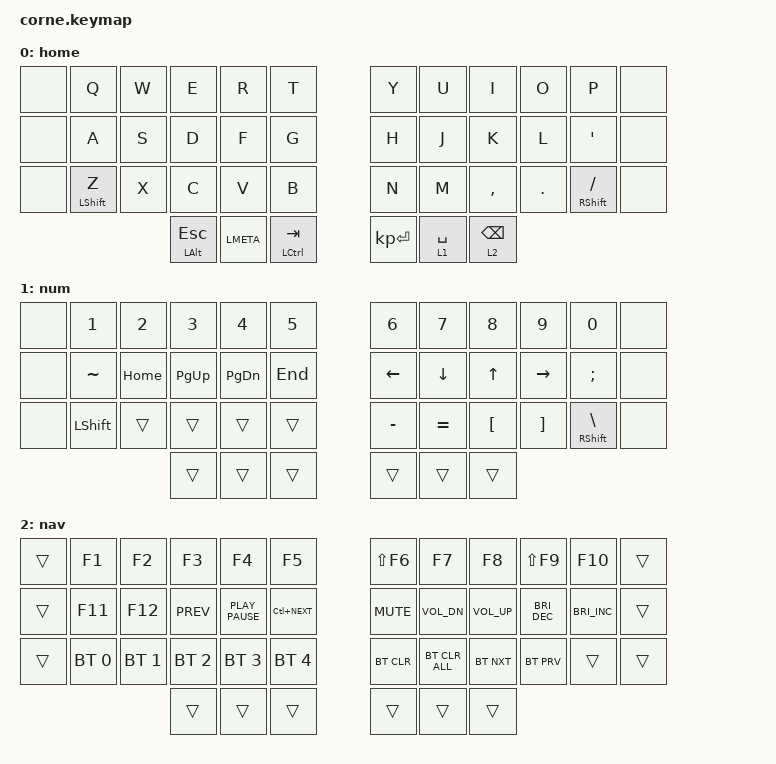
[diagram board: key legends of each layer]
/*
 * Copyright (c) 2020 The ZMK Contributors
 *
 * SPDX-License-Identifier: MIT
 */

#include <behaviors.dtsi>
#include <dt-bindings/zmk/bt.h>
#include <dt-bindings/zmk/keys.h>

/ {
    behaviors {
        hm: homerow_mods {
            compatible = "zmk,behavior-hold-tap";
            label = "HOMEROW_MODS";
            bindings = <&kp>, <&kp>;

            #binding-cells = <2>;
            tapping-term-ms = <200>;
            flavor = "tap-preferred";
            require-prior-idle-ms = <125>;
            quick-tap-ms = <200>;
        };

        shifthr: shifthr {
            compatible = "zmk,behavior-hold-tap";
            label = "SHIFTHR";
            bindings = <&kp>, <&kp>;

            #binding-cells = <2>;
            tapping-term-ms = <185>;
            flavor = "tap-preferred";
            quick-tap-ms = <185>;
        };

        weak: weak {
            compatible = "zmk,behavior-hold-tap";
            label = "WEAK";
            bindings = <&kp>, <&kp>;

            #binding-cells = <2>;
            tapping-term-ms = <230>;
            flavor = "tap-preferred";
            require-prior-idle-ms = <125>;
            quick-tap-ms = <230>;
        };

        backspace: backspace {
            compatible = "zmk,behavior-tap-dance";
            label = "BACKSPACE";
            #binding-cells = <0>;
            bindings = <&kp BACKSPACE>, <&kp LC(BACKSPACE)>;
        };
    };

    combos {
        compatible = "zmk,combos";

        escape {
            bindings = <&kp ESCAPE>;
            key-positions = <16 19>;
        };

        under {
            bindings = <&kp UNDER>;
            key-positions = <28 31>;
        };

        dash {
            bindings = <&kp MINUS>;
            key-positions = <4 7>;
        };

        capsword {
            bindings = <&caps_word>;
            key-positions = <13 22>;
        };
    };

    macros {
        save: save {
            compatible = "zmk,behavior-macro";
            #binding-cells = <0>;
            bindings = <&macro_tap>, <&kp ESCAPE &kp COLON &kp W &kp ENTER>;

            label = "SAVE";
        };

        email: email {
            compatible = "zmk,behavior-macro";
            #binding-cells = <0>;
            bindings = <&none &kp J &kp O &kp S &kp H &kp AT &kp J &kp O &kp S &kp H &kp B &kp L &kp A &kp I &kp S &kp DOT &kp C &kp O &kp M>;
            label = "EMAIL";
        };
    };

    keymap {
        compatible = "zmk,keymap";

        home {
            // -----------------------------------------------------------------------------------------
            // |  TAB |  Q  |  W  |  E  |  R  |  T  |   |  Y  |  U   |  I  |  O  |  P  | BKSP |
            // | CTRL |  A  |  S  |  D  |  F  |  G  |   |  H  |  J   |  K  |  L  |  ;  |  '   |
            // | SHFT |  Z  |  X  |  C  |  V  |  B  |   |  N  |  M   |  ,  |  .  |  /  | ESC  |
            //                    | GUI | LWR | SPC |   | ENT | RSE  | ALT |

            bindings = <
&none  &kp Q         &kp W  &kp E             &kp R      &kp T            &kp Y         &kp U        &kp I            &kp O    &kp P             &none
&none  &kp A         &kp S  &kp D             &kp F      &kp G            &kp H         &kp J        &kp K            &kp L    &kp SQT           &none
&none  &hm LSHIFT Z  &kp X  &kp C             &kp V      &kp B            &kp N         &kp M        &kp COMMA        &kp DOT  &hm RSHIFT SLASH  &none
                            &hm LEFT_ALT ESC  &kp LMETA  &hm LCTRL TAB    &kp KP_ENTER  &lt 1 SPACE  &lt 2 BACKSPACE
            >;

            label = "home";
        };

        num {
            // -----------------------------------------------------------------------------------------
            // |  TAB |  !  |  @  |  #  |  $  |  %  |   |  ^  |  &  |  *  |  (  |  )  | BKSP |
            // | CTRL |     |     |     |     |     |   |  -  |  =  |  [  |  ]  |  \  |  `   |
            // | SHFT |     |     |     |     |     |   |  _  |  +  |  {  |  }  | "|" |  ~   |
            //                    | GUI |     | SPC |   | ENT |     | ALT |

            bindings = <
&none  &kp NUMBER_1    &kp NUMBER_2  &kp NUMBER_3  &kp NUMBER_4  &kp N5     &kp NUMBER_6  &kp NUMBER_7  &kp N8            &kp N9             &kp N0                &none
&none  &kp TILDE       &kp HOME      &kp PAGE_UP   &kp PG_DN     &kp END    &kp LEFT      &kp DOWN      &kp UP_ARROW      &kp RIGHT          &kp SEMICOLON         &none
&none  &kp LEFT_SHIFT  &trans        &trans        &trans        &trans     &kp MINUS     &kp EQUAL     &kp LEFT_BRACKET  &kp RIGHT_BRACKET  &hm RSHIFT BACKSLASH  &none
                                     &trans        &trans        &trans     &trans        &trans        &trans
            >;

            label = "num";
        };

        nav {
            bindings = <
&trans  &kp F1        &kp F2        &kp F3        &kp F4            &kp F5            &kp LS(F6)  &kp F7          &kp F8        &kp LS(F9)            &kp F10               &trans
&trans  &kp F11       &kp F12       &kp K_PREV    &kp K_PLAY_PAUSE  &kp LC(K_NEXT)    &kp K_MUTE  &kp C_VOL_DN    &kp C_VOL_UP  &kp C_BRIGHTNESS_DEC  &kp C_BRIGHTNESS_INC  &trans
&trans  &bt BT_SEL 0  &bt BT_SEL 1  &bt BT_SEL 2  &bt BT_SEL 3      &bt BT_SEL 4      &bt BT_CLR  &bt BT_CLR_ALL  &bt BT_NXT    &bt BT_PRV            &trans                &trans
                                    &trans        &trans            &trans            &trans      &trans          &trans
            >;

            label = "nav";
        };
    };
};
